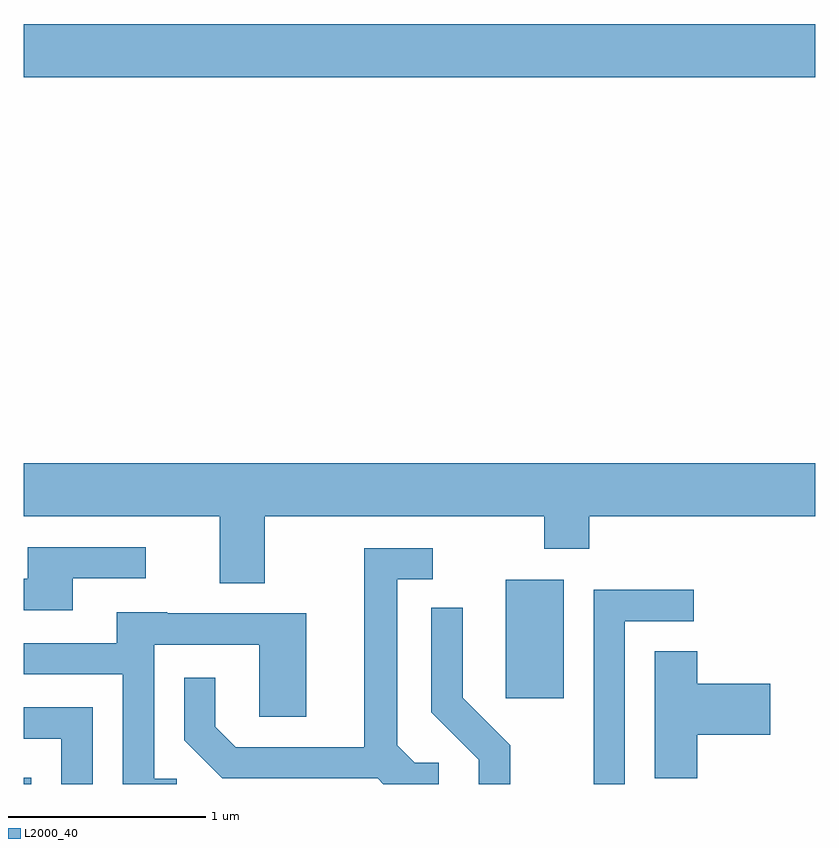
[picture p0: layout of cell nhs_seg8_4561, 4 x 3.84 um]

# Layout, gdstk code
import gdstk
lib = gdstk.Library(unit=1e-6, precision=1e-09)
def R(c, l, rs):  # rectangles x0, y0, x1, y1
    for r in rs: c.add(gdstk.rectangle(r[:2], r[2:], *l))
def P(c, l, *ps):  # polygons
    for p in ps: c.add(gdstk.Polygon(p, *l))
L2000_40 = (2000, 40)

nhs_seg8_4561 = lib.new_cell('nhs_seg8_4561')
R(nhs_seg8_4561, L2000_40, [(321.611,1888.342,321.649,1888.374), (324.046,1888.776,324.339,1889.374), (321.611,1891.916,325.611,1892.184)])
P(nhs_seg8_4561, L2000_40, [(322.829,1889.696),(324.241,1889.696),(324.241,1889.531),(324.469,1889.531),(324.469,1889.696),(325.611,1889.696),(325.611,1889.964),(321.611,1889.964),(321.611,1889.696),(322.601,1889.696),(322.601,1889.356),(322.829,1889.356)],
  [(321.859,1889.381),(322.228,1889.381),(322.228,1889.539),(321.631,1889.539),(321.631,1889.379),(321.611,1889.379),(321.611,1889.221),(321.859,1889.221)],
  [(323.708,1888.449),(323.587,1888.449),(323.499,1888.537),(323.499,1889.376),(323.678,1889.376),(323.678,1889.534),(323.331,1889.534),(323.331,1888.529),(322.682,1888.529),(322.579,1888.632),(322.579,1888.878),(322.421,1888.878),(322.421,1888.564),(322.614,1888.371),(323.399,1888.371),(323.428,1888.342),(323.708,1888.342)],
  [(324.649,1889.166),(324.998,1889.166),(324.998,1889.324),(324.491,1889.324),(324.491,1888.342),(324.649,1888.342)],
  [(324.069,1888.537),(323.829,1888.777),(323.829,1889.233),(323.671,1889.233),(323.671,1888.704),(323.911,1888.464),(323.911,1888.342),(324.069,1888.342)],
  [(322.383,1888.369),(322.269,1888.369),(322.269,1889.046),(322.801,1889.046),(322.801,1888.681),(323.039,1888.681),(323.039,1889.204),(322.335,1889.204),(322.335,1889.209),(322.081,1889.209),(322.081,1889.054),(321.611,1889.054),(321.611,1888.896),(322.111,1888.896),(322.111,1888.342),(322.383,1888.342)],
  [(325.014,1888.591),(325.384,1888.591),(325.384,1888.849),(325.014,1888.849),(325.014,1889.014),(324.801,1889.014),(324.801,1888.371),(325.014,1888.371)],
  [(321.959,1888.729),(321.611,1888.729),(321.611,1888.571),(321.801,1888.571),(321.801,1888.342),(321.959,1888.342)])

lib.write_gds('nhs_seg8_4561.gds')
